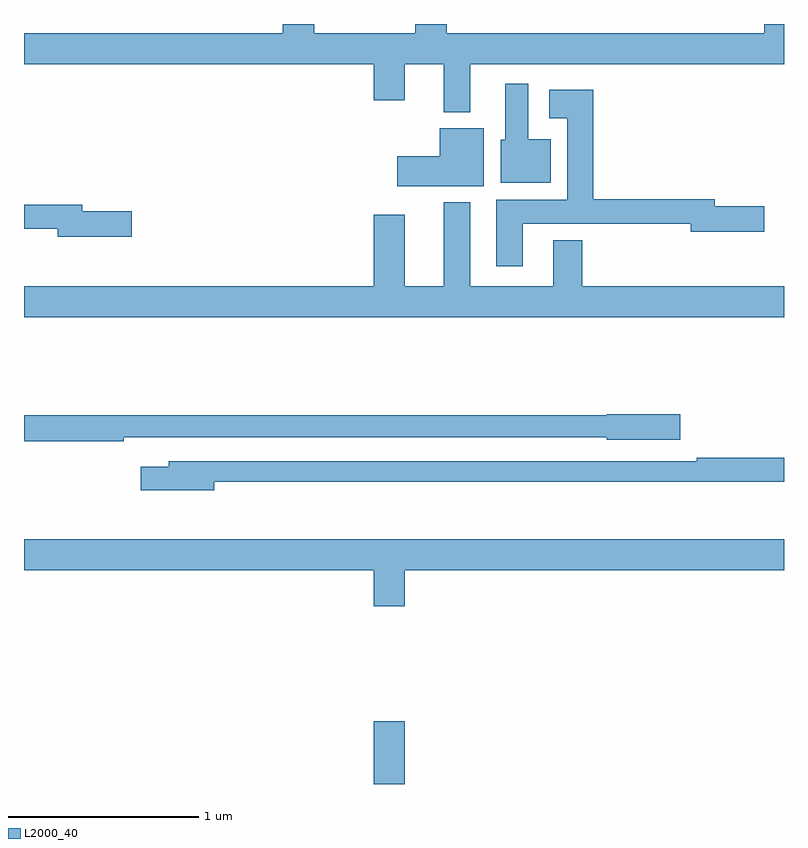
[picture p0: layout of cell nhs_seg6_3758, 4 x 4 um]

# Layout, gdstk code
import gdstk
lib = gdstk.Library(unit=1e-6, precision=1e-09)
def R(c, l, rs):  # rectangles x0, y0, x1, y1
    for r in rs: c.add(gdstk.rectangle(r[:2], r[2:], *l))
def P(c, l, *ps):  # polygons
    for p in ps: c.add(gdstk.Polygon(p, *l))
L2000_40 = (2000, 40)

nhs_seg6_3758 = lib.new_cell('nhs_seg6_3758')
R(nhs_seg6_3758, L2000_40, [(332.84,991.5,333.004,991.831)])
P(nhs_seg6_3758, L2000_40, [(333.349,995.288),(335,995.288),(335,995.5),(334.896,995.5),(334.896,995.452),(333.224,995.452),(333.224,995.5),(333.059,995.5),(333.059,995.452),(332.528,995.452),(332.528,995.5),(332.363,995.5),(332.363,995.452),(331,995.452),(331,995.288),(332.84,995.288),(332.84,995.1),(333.004,995.1),(333.004,995.288),(333.209,995.288),(333.209,995.036),(333.349,995.036)],
  [(333.772,994.894),(333.655,994.894),(333.655,995.185),(333.533,995.185),(333.533,994.89),(333.509,994.89),(333.509,994.664),(333.772,994.664)],
  [(333.625,994.448),(333.978,994.448),(333.978,994.449),(334.508,994.449),(334.508,994.406),(334.897,994.406),(334.897,994.541),(334.636,994.541),(334.636,994.577),(333.995,994.577),(333.995,995.155),(333.765,995.155),(333.765,995.003),(333.86,995.003),(333.86,994.576),(333.485,994.576),(333.485,994.224),(333.625,994.224)],
  [(333.421,994.951),(333.188,994.951),(333.188,994.804),(332.964,994.804),(332.964,994.646),(333.421,994.646)],
  [(331.567,994.514),(331.306,994.514),(331.306,994.55),(331,994.55),(331,994.422),(331.178,994.422),(331.178,994.379),(331.567,994.379)],
  [(333.785,994.363),(333.785,994.12),(333.349,994.12),(333.349,994.561),(333.209,994.561),(333.209,994.12),(333.004,994.12),(333.004,994.495),(332.84,994.495),(332.84,994.12),(331,994.12),(331,993.956),(335,993.956),(335,994.12),(333.938,994.12),(333.938,994.363)],
  [(331.526,993.324),(334.068,993.324),(334.068,993.311),(334.453,993.311),(334.453,993.446),(334.068,993.446),(334.068,993.44),(331,993.44),(331,993.304),(331.526,993.304)],
  [(332.002,993.09),(335,993.09),(335,993.218),(334.54,993.218),(334.54,993.198),(331.763,993.198),(331.763,993.169),(331.614,993.169),(331.614,993.047),(332.002,993.047)],
  [(333.004,992.624),(335,992.624),(335,992.788),(331,992.788),(331,992.624),(332.84,992.624),(332.84,992.436),(333.004,992.436)])

lib.write_gds('nhs_seg6_3758.gds')
